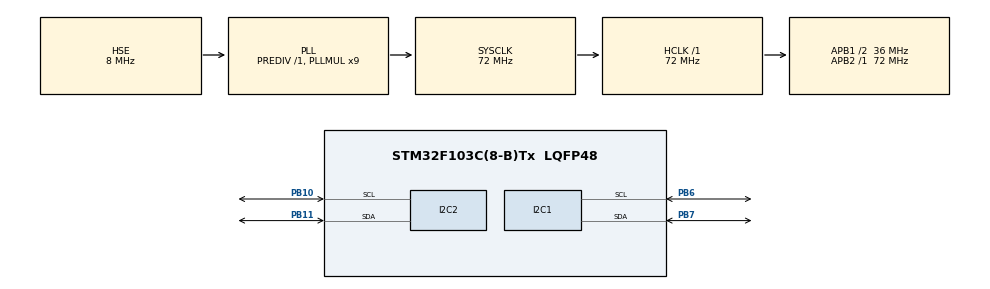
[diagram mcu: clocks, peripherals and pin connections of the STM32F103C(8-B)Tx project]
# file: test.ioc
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Mcu.Family=STM32F1
Mcu.Name=STM32F103C(8-B)Tx
Mcu.Package=LQFP48
NVIC.PriorityGroup=NVIC_PRIORITYGROUP_4
PA13.Mode=Serial_Wire
PA13.Signal=SYS_JTMS-SWDIO
PA14.Mode=Serial_Wire
PA14.Signal=SYS_JTCK-SWCLK
PB10.Mode=I2C
PB10.Signal=I2C2_SCL
PB11.Mode=I2C
PB11.Signal=I2C2_SDA
PB6.Mode=I2C
PB6.Signal=I2C1_SCL
PB7.Mode=I2C
PB7.Signal=I2C1_SDA
PD0-OSC_IN.Mode=HSE-External-Oscillator
PD0-OSC_IN.Signal=RCC_OSC_IN
PD1-OSC_OUT.Mode=HSE-External-Oscillator
PD1-OSC_OUT.Signal=RCC_OSC_OUT
ProjectManager.HeapSize=0x200
ProjectManager.StackSize=0x400
ProjectManager.TargetToolchain=STM32CubeIDE
RCC.AHBFreq_Value=72000000
RCC.APB1CLKDivider=RCC_HCLK_DIV2
RCC.APB1Freq_Value=36000000
RCC.APB1TimFreq_Value=72000000
RCC.APB2Freq_Value=72000000
RCC.APB2TimFreq_Value=72000000
RCC.HCLKFreq_Value=72000000
RCC.PLLMUL=RCC_PLL_MUL9
RCC.PLLSourceVirtual=RCC_PLLSOURCE_HSE
RCC.SYSCLKFreq_VALUE=72000000
RCC.SYSCLKSource=RCC_SYSCLKSOURCE_PLLCLK
RCC.USBFreq_Value=72000000
board=custom

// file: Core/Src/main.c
/* USER CODE BEGIN Header */
/**
 ******************************************************************************
 * @file           : main.c
 * @brief          : Main program body
 ******************************************************************************
 * @attention
 *
 * Copyright (c) 2021 STMicroelectronics.
 * All rights reserved.
 *
 * This software is licensed under terms that can be found in the LICENSE file
 * in the root directory of this software component.
 * If no LICENSE file comes with this software, it is provided AS-IS.
 *
 ******************************************************************************
 */
/* USER CODE END Header */
#include "main.h"

/* USER CODE BEGIN Includes */
#include <string.h>
/* USER CODE END Includes */

/* USER CODE BEGIN PD */
#define LCD_ADDR (0x27 << 1)       // адрес дисплея, сдвинутый на 1 бит влево (HAL работает с I2C-адресами, сдвинутыми на 1 бит влево)

#define PIN_RS    (1 << 0)         // если на ножке 0, данные воспринимаются как команда, если 1 - как символы для вывода
#define PIN_EN    (1 << 2)         // бит, по изменению сост. которого считывается информация
#define BACKLIGHT (1 << 3)         // управление подсветкой

#define LCD_DELAY_MS 5             // пауза перед высвечиванием символа

#define PIN_OUTPUT 0
#define PIN_INPUT 1
#define PIN_SET 1
#define PIN_RESET 0

/* USER CODE END PD */

I2C_HandleTypeDef hi2c1;
I2C_HandleTypeDef hi2c2;

/* USER CODE BEGIN PV */
uint8_t mcp_read[8] = { 0x0041, 0x0043, 0x0045, 0x0047, 0x0049, 0x004B, 0x004D,
		0x004F };

uint8_t mcp_write[8] = { 0x0040, 0x0042, 0x0044, 0x0046, 0x0048, 0x004A, 0x004C,
		0x004E };

/* USER CODE END PV */

void SystemClock_Config(void);
static void MX_GPIO_Init(void);
static void MX_I2C1_Init(void);
static void MX_I2C2_Init(void);
/* USER CODE BEGIN PFP */
void I2C_send(uint8_t data, uint8_t flags) {
	HAL_StatusTypeDef res;
	// бесконечный цикл
	for (;;) {
		// проверяем, готово ли устройство по адресу lcd_addr для связи
		res = HAL_I2C_IsDeviceReady(&hi2c1, LCD_ADDR, 1, HAL_MAX_DELAY);
		// если да, то выходим из бесконечного цикла
		if (res == HAL_OK)
			break;
	}
	// операция �? с 1111 0000 приводит к обнулению бит с 0 по 3, остаются биты с 4 по 7
	uint8_t up = data & 0xF0;
	// то же самое, но data сдвигается на 4 бита влево
	uint8_t lo = (data << 4) & 0xF0;

	uint8_t data_arr[4];
	// 4-7 биты содержат информацию, биты 0-3 настраивают работу дисплея
	data_arr[0] = up | flags | BACKLIGHT | PIN_EN;
	// дублирование сигнала, на выводе Е в этот раз 0
	data_arr[1] = up | flags | BACKLIGHT;
	data_arr[2] = lo | flags | BACKLIGHT | PIN_EN;
	data_arr[3] = lo | flags | BACKLIGHT;

	HAL_I2C_Master_Transmit(&hi2c1, LCD_ADDR, data_arr, sizeof(data_arr),
	HAL_MAX_DELAY);
	HAL_Delay(LCD_DELAY_MS);
}

void LCD_SendString(char *str) {
	// *char по сути является строкой
	// пока строчка не закончится
	while (*str) {
		// передача первого символа строки
		I2C_send((uint8_t) (*str), 1);
		// сдвиг строки налево на 1 символ
		str++;
	}
}

static uint8_t I2C1_MCP23017_GET_REG(uint8_t reg_addr, uint8_t mcp_num) {
	uint8_t i2c_wbyte = reg_addr;
	uint8_t i2c1_rbyte;
	HAL_I2C_Master_Transmit(&hi2c1, mcp_write[mcp_num], &i2c_wbyte, 1, 1000);
	HAL_I2C_Master_Receive(&hi2c1, mcp_read[mcp_num], &i2c1_rbyte, 1, 1000);
	return i2c1_rbyte;
}

static uint8_t I2C2_MCP23017_GET_REG(uint8_t reg_addr, uint8_t mcp_num) {
	uint8_t i2c_wbyte = reg_addr;
	uint8_t i2c2_rbyte;
	HAL_I2C_Master_Transmit(&hi2c2, mcp_write[mcp_num], &i2c_wbyte, 1, 1000);
	HAL_I2C_Master_Receive(&hi2c2, mcp_read[mcp_num], &i2c2_rbyte, 1, 1000);
	return i2c2_rbyte;
}

static void I2C1_MCP23017_SET_REG(uint8_t reg_addr, uint8_t reg_val,
		uint8_t mcp_num) {
	uint8_t i2c_wbuf[2];
	i2c_wbuf[0] = reg_addr;
	i2c_wbuf[1] = reg_val;
	HAL_I2C_Master_Transmit(&hi2c1, mcp_write[mcp_num], i2c_wbuf, 2, 1000);
}
static void I2C2_MCP23017_SET_REG(uint8_t reg_addr, uint8_t reg_val,
		uint8_t mcp_num) {
	uint8_t i2c_wbuf[2];
	i2c_wbuf[0] = reg_addr;
	i2c_wbuf[1] = reg_val;
	HAL_I2C_Master_Transmit(&hi2c2, mcp_write[mcp_num], i2c_wbuf, 2, 1000);
}

static void I2C_MCP23017_SET_PIN_MODE(uint8_t pin_num, uint8_t pin_mode) { // pin_mode = 0 ... OUTPUT
// pin_mode = 1 ... INPUT
	uint8_t temp_pin_num = pin_num % 16;

	uint8_t bit_num = pin_num % 8;
	uint8_t bit_mask = 0x01 << bit_num;
	uint8_t reg_addr = 0;
	uint8_t reg_state;
	uint8_t reg_pin_pullup;
	if (temp_pin_num < 8){
		reg_addr = 0x00;
	reg_pin_pullup = 0x0C;
	}
	else{
		reg_addr = 0x01;
	reg_pin_pullup = 0x0D;
	}
	if (pin_num < 128)
		reg_state = I2C1_MCP23017_GET_REG(reg_addr, pin_num / 16);
	else
		reg_state = I2C2_MCP23017_GET_REG(reg_addr, (pin_num - 128) / 16);
	if (pin_mode == PIN_OUTPUT)
		reg_state = reg_state & (~bit_mask);

	else
		reg_state = reg_state | bit_mask;
	if (pin_num < 128)
		I2C1_MCP23017_SET_REG(reg_addr, reg_state, pin_num / 16);
	else
		I2C2_MCP23017_SET_REG(reg_addr, reg_state, (pin_num - 128) / 16);
}

static void I2C_MCP23017_SET_PIN_STATE(uint8_t pin_num, uint8_t pin_state) {
	uint8_t temp_pin_num = pin_num % 16;
	uint8_t bit_num = pin_num % 8;
	uint8_t bit_mask = 0x01 << bit_num;
	uint8_t reg_addr = 0;
	uint8_t reg_state;
	if (temp_pin_num < 8)
		reg_addr = 0x12;

	else
		reg_addr = 0x13;

	if (pin_num < 128)
		reg_state = I2C1_MCP23017_GET_REG(reg_addr, pin_num / 16);
	else
		reg_state = I2C2_MCP23017_GET_REG(reg_addr, (pin_num - 128) / 16);

	if (pin_state == PIN_SET)
		reg_state = reg_state | bit_mask;
	else
		reg_state = reg_state & (~bit_mask);

	if (pin_num < 128)
		I2C1_MCP23017_SET_REG(reg_addr, reg_state, pin_num / 16);
	else
		I2C2_MCP23017_SET_REG(reg_addr, reg_state, (pin_num - 128) / 16);
}

/* USER CODE END PFP */

int main(void) {

	/* MCU Configuration--------------------------------------------------------*/

	/* Reset of all peripherals, Initializes the Flash interface and the Systick. */
	HAL_Init();

	/* Configure the system clock */
	SystemClock_Config();

	/* Initialize all configured peripherals */
	MX_GPIO_Init();
	MX_I2C1_Init();
	MX_I2C2_Init();
	/* USER CODE BEGIN 2 */
	I2C_send(0b00110000, 0);   // 8ми битный интерфейс
	I2C_send(0b00000010, 0);   // установка курсора в начале строки
	I2C_send(0b00001100, 0);   // нормальный режим работы, выкл курсор
	I2C_send(0b00000001, 0);   // очистка дисплея

	LCD_SendString("Hello");
	I2C_send(0b11000000, 0);   // перевод строки
	LCD_SendString("     WORLD!!!");

	/* USER CODE END 2 */

	/* Infinite loop */
	/* USER CODE BEGIN WHILE */

	I2C_MCP23017_SET_PIN_MODE(64, PIN_OUTPUT);
	I2C_MCP23017_SET_PIN_MODE(223, PIN_OUTPUT);

	while (1) {

		/* USER CODE END WHILE */

		/* USER CODE BEGIN 3 */
		I2C_MCP23017_SET_PIN_STATE(64, PIN_SET);
		I2C_MCP23017_SET_PIN_STATE(223, PIN_RESET);
		HAL_Delay(500);
		I2C_MCP23017_SET_PIN_STATE(64, PIN_RESET);
		I2C_MCP23017_SET_PIN_STATE(223, PIN_SET);
		HAL_Delay(500);
	}

	/* USER CODE END 3 */
}

void SystemClock_Config(void) {
	RCC_OscInitTypeDef RCC_OscInitStruct = { 0 };
	RCC_ClkInitTypeDef RCC_ClkInitStruct = { 0 };

	/** Initializes the RCC Oscillators according to the specified parameters
	 * in the RCC_OscInitTypeDef structure.
	 */
	RCC_OscInitStruct.OscillatorType = RCC_OSCILLATORTYPE_HSE;
	RCC_OscInitStruct.HSEState = RCC_HSE_ON;
	RCC_OscInitStruct.HSEPredivValue = RCC_HSE_PREDIV_DIV1;
	RCC_OscInitStruct.HSIState = RCC_HSI_ON;
	RCC_OscInitStruct.PLL.PLLState = RCC_PLL_ON;
	RCC_OscInitStruct.PLL.PLLSource = RCC_PLLSOURCE_HSE;
	RCC_OscInitStruct.PLL.PLLMUL = RCC_PLL_MUL9;
	if (HAL_RCC_OscConfig(&RCC_OscInitStruct) != HAL_OK) {
		Error_Handler();
	}
	/** Initializes the CPU, AHB and APB buses clocks
	 */
	RCC_ClkInitStruct.ClockType = RCC_CLOCKTYPE_HCLK | RCC_CLOCKTYPE_SYSCLK
			| RCC_CLOCKTYPE_PCLK1 | RCC_CLOCKTYPE_PCLK2;
	RCC_ClkInitStruct.SYSCLKSource = RCC_SYSCLKSOURCE_PLLCLK;
	RCC_ClkInitStruct.AHBCLKDivider = RCC_SYSCLK_DIV1;
	RCC_ClkInitStruct.APB1CLKDivider = RCC_HCLK_DIV2;
	RCC_ClkInitStruct.APB2CLKDivider = RCC_HCLK_DIV1;

	if (HAL_RCC_ClockConfig(&RCC_ClkInitStruct, FLASH_LATENCY_2) != HAL_OK) {
		Error_Handler();
	}
}

static void MX_I2C1_Init(void) {

	hi2c1.Instance = I2C1;
	hi2c1.Init.ClockSpeed = 100000;
	hi2c1.Init.DutyCycle = I2C_DUTYCYCLE_2;
	hi2c1.Init.OwnAddress1 = 0;
	hi2c1.Init.AddressingMode = I2C_ADDRESSINGMODE_7BIT;
	hi2c1.Init.DualAddressMode = I2C_DUALADDRESS_DISABLE;
	hi2c1.Init.OwnAddress2 = 0;
	hi2c1.Init.GeneralCallMode = I2C_GENERALCALL_DISABLE;
	hi2c1.Init.NoStretchMode = I2C_NOSTRETCH_DISABLE;
	if (HAL_I2C_Init(&hi2c1) != HAL_OK) {
		Error_Handler();
	}

}

static void MX_I2C2_Init(void) {

	hi2c2.Instance = I2C2;
	hi2c2.Init.ClockSpeed = 100000;
	hi2c2.Init.DutyCycle = I2C_DUTYCYCLE_2;
	hi2c2.Init.OwnAddress1 = 0;
	hi2c2.Init.AddressingMode = I2C_ADDRESSINGMODE_7BIT;
	hi2c2.Init.DualAddressMode = I2C_DUALADDRESS_DISABLE;
	hi2c2.Init.OwnAddress2 = 0;
	hi2c2.Init.GeneralCallMode = I2C_GENERALCALL_DISABLE;
	hi2c2.Init.NoStretchMode = I2C_NOSTRETCH_DISABLE;
	if (HAL_I2C_Init(&hi2c2) != HAL_OK) {
		Error_Handler();
	}

}

static void MX_GPIO_Init(void) {

	/* GPIO Ports Clock Enable */
	__HAL_RCC_GPIOD_CLK_ENABLE();
	__HAL_RCC_GPIOB_CLK_ENABLE();
	__HAL_RCC_GPIOA_CLK_ENABLE();

}

void Error_Handler(void) {
	__disable_irq();
	while (1) {
	}
}
